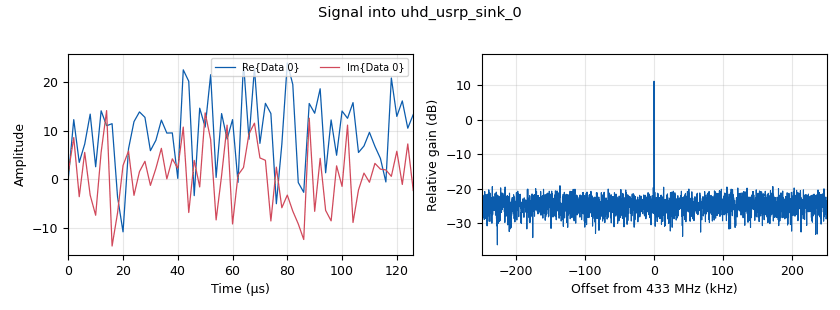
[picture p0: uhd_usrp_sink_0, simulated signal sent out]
options:
  parameters:
    generate_options: no_gui
    id: top_block
    output_language: python
  states: {}

blocks:
- name: TX_GAIN
  id: variable
  parameters:
    value: '100'
  states: {}
- name: freq
  id: variable
  parameters:
    value: '433000000'
  states: {}
- name: samp_rate
  id: variable
  parameters:
    value: '500000'
  states: {}
- name: analog_const_source_x_0
  id: analog_const_source_x
  parameters:
    const: '10'
    type: complex
  states: {}
- name: analog_noise_source_x_0
  id: analog_noise_source_x
  parameters:
    amp: '10'
    noise_type: analog.GR_GAUSSIAN
    seed: '-2'
    type: complex
  states: {}
- name: blocks_add_xx_0
  id: blocks_add_xx
  parameters:
    type: complex
  states: {}
- name: qtgui_freq_sink_x_0_0
  id: qtgui_freq_sink_x
  parameters:
    bw: samp_rate
    ctrlpanel: 'True'
    fc: '0'
    fftsize: '1024'
    name: '"RX signal"'
    showports: 'True'
    type: complex
    wintype: firdes.WIN_BLACKMAN_hARRIS
  states: {state: disabled}
- name: qtgui_freq_sink_x_0_0_0
  id: qtgui_freq_sink_x
  parameters:
    bw: samp_rate
    ctrlpanel: 'True'
    fc: '0'
    fftsize: '1024'
    name: '"RX signal"'
    showports: 'True'
    type: complex
    wintype: firdes.WIN_BLACKMAN_hARRIS
  states: {state: disabled}
- name: uhd_usrp_sink_0
  id: uhd_usrp_sink
  parameters:
    ant0: TX/RX
    center_freq0: freq
    dev_args: '""'
    gain0: TX_GAIN
    len_tag_name: ''
    norm_gain0: 'False'
    samp_rate: samp_rate
    sync: sync
    type: fc32
  states: {}
- name: uhd_usrp_source_0
  id: uhd_usrp_source
  parameters:
    ant0: RX2
    center_freq0: '868000000'
    dc_offs_enb0: '""'
    dev_args: '""'
    gain0: Gain_RX
    iq_imbal_enb0: '""'
    norm_gain0: 'False'
    samp_rate: samp_rate
    sd_spec0: A:B
    sync: none
    type: fc32
  states: {state: disabled}
- name: uhd_usrp_source_0_0
  id: uhd_usrp_source
  parameters:
    ant0: RX2
    center_freq0: '868000000'
    dc_offs_enb0: '""'
    dev_args: '""'
    gain0: Gain_RX
    iq_imbal_enb0: '""'
    norm_gain0: 'False'
    samp_rate: samp_rate
    sd_spec0: A:A
    sync: none
    type: fc32
  states: {state: disabled}

connections:
- [analog_const_source_x_0, '0', blocks_add_xx_0, '0']
- [analog_noise_source_x_0, '0', blocks_add_xx_0, '1']
- [blocks_add_xx_0, '0', uhd_usrp_sink_0, '0']
- [uhd_usrp_source_0, '0', qtgui_freq_sink_x_0_0, '0']
- [uhd_usrp_source_0_0, '0', qtgui_freq_sink_x_0_0_0, '0']

metadata:
  file_format: 1
